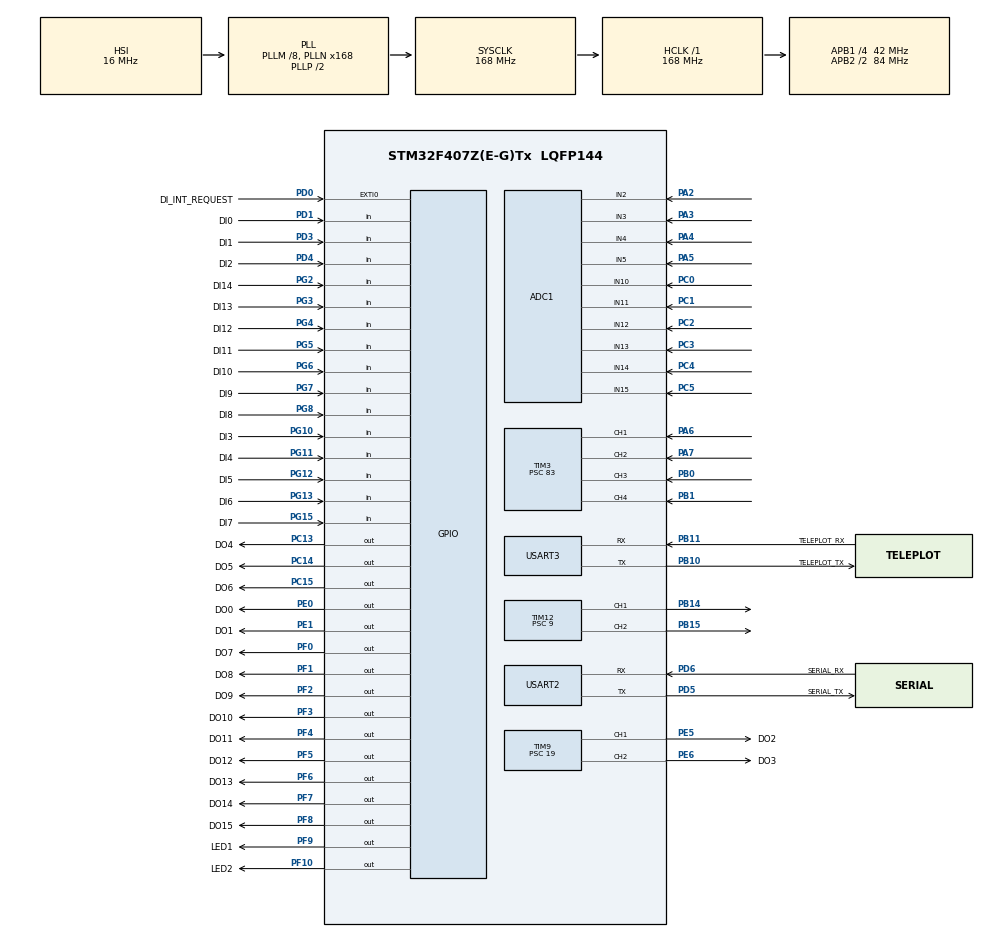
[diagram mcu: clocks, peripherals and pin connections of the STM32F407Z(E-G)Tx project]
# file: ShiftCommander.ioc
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ADC1.Channel-0\#ChannelRegularConversion=ADC_CHANNEL_2
ADC1.Channel-1\#ChannelRegularConversion=ADC_CHANNEL_3
ADC1.Channel-10\#ChannelRegularConversion=ADC_CHANNEL_TEMPSENSOR
ADC1.Channel-11\#ChannelRegularConversion=ADC_CHANNEL_VBAT
ADC1.Channel-12\#ChannelRegularConversion=ADC_CHANNEL_VREFINT
ADC1.Channel-2\#ChannelRegularConversion=ADC_CHANNEL_4
ADC1.Channel-3\#ChannelRegularConversion=ADC_CHANNEL_5
ADC1.Channel-4\#ChannelRegularConversion=ADC_CHANNEL_10
ADC1.Channel-5\#ChannelRegularConversion=ADC_CHANNEL_11
ADC1.Channel-6\#ChannelRegularConversion=ADC_CHANNEL_12
ADC1.Channel-7\#ChannelRegularConversion=ADC_CHANNEL_13
ADC1.Channel-8\#ChannelRegularConversion=ADC_CHANNEL_14
ADC1.Channel-9\#ChannelRegularConversion=ADC_CHANNEL_15
ADC1.ClockPrescaler=ADC_CLOCK_SYNC_PCLK_DIV6
ADC1.EOCSelection=ADC_EOC_SEQ_CONV
ADC1.NbrOfConversion=13
ADC1.NbrOfConversionFlag=1
ADC1.Rank-0\#ChannelRegularConversion=1
ADC1.Rank-1\#ChannelRegularConversion=2
ADC1.Rank-10\#ChannelRegularConversion=11
ADC1.Rank-11\#ChannelRegularConversion=12
ADC1.Rank-12\#ChannelRegularConversion=13
ADC1.Rank-2\#ChannelRegularConversion=3
ADC1.Rank-3\#ChannelRegularConversion=4
ADC1.Rank-4\#ChannelRegularConversion=5
ADC1.Rank-5\#ChannelRegularConversion=6
ADC1.Rank-6\#ChannelRegularConversion=7
ADC1.Rank-7\#ChannelRegularConversion=8
ADC1.Rank-8\#ChannelRegularConversion=9
ADC1.Rank-9\#ChannelRegularConversion=10
ADC1.SamplingTime-0\#ChannelRegularConversion=ADC_SAMPLETIME_56CYCLES
ADC1.SamplingTime-1\#ChannelRegularConversion=ADC_SAMPLETIME_56CYCLES
ADC1.SamplingTime-10\#ChannelRegularConversion=ADC_SAMPLETIME_56CYCLES
ADC1.SamplingTime-11\#ChannelRegularConversion=ADC_SAMPLETIME_56CYCLES
ADC1.SamplingTime-12\#ChannelRegularConversion=ADC_SAMPLETIME_56CYCLES
ADC1.SamplingTime-2\#ChannelRegularConversion=ADC_SAMPLETIME_56CYCLES
ADC1.SamplingTime-3\#ChannelRegularConversion=ADC_SAMPLETIME_56CYCLES
ADC1.SamplingTime-4\#ChannelRegularConversion=ADC_SAMPLETIME_56CYCLES
ADC1.SamplingTime-5\#ChannelRegularConversion=ADC_SAMPLETIME_56CYCLES
ADC1.SamplingTime-6\#ChannelRegularConversion=ADC_SAMPLETIME_56CYCLES
ADC1.SamplingTime-7\#ChannelRegularConversion=ADC_SAMPLETIME_56CYCLES
ADC1.SamplingTime-8\#ChannelRegularConversion=ADC_SAMPLETIME_56CYCLES
ADC1.SamplingTime-9\#ChannelRegularConversion=ADC_SAMPLETIME_56CYCLES
ADC1.ScanConvMode=ENABLE
ADC1.master=1
Dma.ADC1.4.Direction=DMA_PERIPH_TO_MEMORY
Dma.ADC1.4.FIFOMode=DMA_FIFOMODE_DISABLE
Dma.ADC1.4.Instance=DMA2_Stream0
Dma.ADC1.4.MemDataAlignment=DMA_MDATAALIGN_WORD
Dma.ADC1.4.MemInc=DMA_MINC_ENABLE
Dma.ADC1.4.Mode=DMA_NORMAL
Dma.ADC1.4.PeriphDataAlignment=DMA_PDATAALIGN_WORD
Dma.ADC1.4.PeriphInc=DMA_PINC_DISABLE
Dma.ADC1.4.Priority=DMA_PRIORITY_LOW
Dma.Request0=TIM3_CH1/TRIG
Dma.Request1=TIM3_CH2
Dma.Request2=TIM3_CH3
Dma.Request3=TIM3_CH4/UP
Dma.Request4=ADC1
Dma.TIM3_CH1/TRIG.0.Direction=DMA_PERIPH_TO_MEMORY
Dma.TIM3_CH1/TRIG.0.FIFOMode=DMA_FIFOMODE_DISABLE
Dma.TIM3_CH1/TRIG.0.Instance=DMA1_Stream4
Dma.TIM3_CH1/TRIG.0.MemDataAlignment=DMA_MDATAALIGN_WORD
Dma.TIM3_CH1/TRIG.0.MemInc=DMA_MINC_ENABLE
Dma.TIM3_CH1/TRIG.0.Mode=DMA_CIRCULAR
Dma.TIM3_CH1/TRIG.0.PeriphDataAlignment=DMA_PDATAALIGN_WORD
Dma.TIM3_CH1/TRIG.0.PeriphInc=DMA_PINC_DISABLE
Dma.TIM3_CH1/TRIG.0.Priority=DMA_PRIORITY_LOW
Dma.TIM3_CH2.1.Direction=DMA_PERIPH_TO_MEMORY
Dma.TIM3_CH2.1.FIFOMode=DMA_FIFOMODE_DISABLE
Dma.TIM3_CH2.1.Instance=DMA1_Stream5
Dma.TIM3_CH2.1.MemDataAlignment=DMA_MDATAALIGN_WORD
Dma.TIM3_CH2.1.MemInc=DMA_MINC_ENABLE
Dma.TIM3_CH2.1.Mode=DMA_CIRCULAR
Dma.TIM3_CH2.1.PeriphDataAlignment=DMA_PDATAALIGN_WORD
Dma.TIM3_CH2.1.PeriphInc=DMA_PINC_DISABLE
Dma.TIM3_CH2.1.Priority=DMA_PRIORITY_LOW
Dma.TIM3_CH3.2.Direction=DMA_PERIPH_TO_MEMORY
Dma.TIM3_CH3.2.FIFOMode=DMA_FIFOMODE_DISABLE
Dma.TIM3_CH3.2.Instance=DMA1_Stream7
Dma.TIM3_CH3.2.MemDataAlignment=DMA_MDATAALIGN_WORD
Dma.TIM3_CH3.2.MemInc=DMA_MINC_ENABLE
Dma.TIM3_CH3.2.Mode=DMA_CIRCULAR
Dma.TIM3_CH3.2.PeriphDataAlignment=DMA_PDATAALIGN_WORD
Dma.TIM3_CH3.2.PeriphInc=DMA_PINC_DISABLE
Dma.TIM3_CH3.2.Priority=DMA_PRIORITY_LOW
Dma.TIM3_CH4/UP.3.Direction=DMA_PERIPH_TO_MEMORY
Dma.TIM3_CH4/UP.3.FIFOMode=DMA_FIFOMODE_DISABLE
Dma.TIM3_CH4/UP.3.Instance=DMA1_Stream2
Dma.TIM3_CH4/UP.3.MemDataAlignment=DMA_MDATAALIGN_WORD
Dma.TIM3_CH4/UP.3.MemInc=DMA_MINC_ENABLE
Dma.TIM3_CH4/UP.3.Mode=DMA_CIRCULAR
Dma.TIM3_CH4/UP.3.PeriphDataAlignment=DMA_PDATAALIGN_WORD
Dma.TIM3_CH4/UP.3.PeriphInc=DMA_PINC_DISABLE
Dma.TIM3_CH4/UP.3.Priority=DMA_PRIORITY_LOW
FREERTOS.Tasks01=defaultTask,12,128,StartDefaultTask,Default,NULL,Dynamic,NULL,NULL;blinkerTask,13,128,StartBlinkerTask,Default,NULL,Dynamic,NULL,NULL;shaftsTask,16,256,StartShaftsMeasTask,Default,NULL,Dynamic,NULL,NULL;batteryTask,16,256,StartBattVoltMeasTask,Default,NULL,Dynamic,NULL,NULL;pi1Task,24,128,StartPulseInputCh1Task,Default,NULL,Dynamic,NULL,NULL;aiTask,16,128,StartAnalogInputTask,Default,NULL,Dynamic,NULL,NULL;diTask,16,128,StartDiscreteInputTask,Default,NULL,Dynamic,NULL,NULL;doTask,16,128,StartDiscreteOutputTask,Default,NULL,Dynamic,NULL,NULL;poTask,16,128,StartPulseOutputTask,Default,NULL,Dynamic,NULL,NULL;pi2Task,24,128,StartPulseInputCh2Task,Default,NULL,Dynamic,NULL,NULL;pi3Task,24,128,StartPulseInputCh3Task,Default,NULL,Dynamic,NULL,NULL;pi4Task,24,128,StartPulseInputCh4Task,Default,NULL,Dynamic,NULL,NULL
FREERTOS.configENABLE_FPU=1
FREERTOS.configTOTAL_HEAP_SIZE=20480
FREERTOS.configUSE_NEWLIB_REENTRANT=1
Mcu.Family=STM32F4
Mcu.Name=STM32F407Z(E-G)Tx
Mcu.Package=LQFP144
NVIC.DMA1_Stream2_IRQn=true\:5\:0\:false\:false\:true\:true\:false\:true\:true
NVIC.DMA1_Stream4_IRQn=true\:5\:0\:false\:false\:true\:true\:false\:true\:true
NVIC.DMA1_Stream5_IRQn=true\:5\:0\:false\:false\:true\:true\:false\:true\:true
NVIC.DMA1_Stream7_IRQn=true\:5\:0\:false\:false\:true\:true\:false\:true\:true
NVIC.DMA2_Stream0_IRQn=true\:5\:0\:false\:false\:true\:true\:false\:true\:true
NVIC.PriorityGroup=NVIC_PRIORITYGROUP_4
NVIC.TIM1_BRK_TIM9_IRQn=true\:5\:0\:false\:false\:true\:true\:true\:true\:true
NVIC.TIM6_DAC_IRQn=true\:5\:0\:false\:false\:true\:true\:true\:true\:true
NVIC.TIM8_BRK_TIM12_IRQn=true\:5\:0\:false\:false\:true\:true\:true\:true\:true
PA11.GPIO_Label=CAN_MAIN_RX
PA11.Signal=CAN1_RX
PA12.GPIO_Label=CAN_MAIN_TX
PA12.Signal=CAN1_TX
PA13.Mode=Serial_Wire
PA13.Signal=SYS_JTMS-SWDIO
PA14.Mode=Serial_Wire
PA14.Signal=SYS_JTCK-SWCLK
PA2.Signal=ADCx_IN2
PA3.Signal=ADCx_IN3
PA4.Signal=ADCx_IN4
PA5.Signal=ADCx_IN5
PA6.GPIO_PuPd=GPIO_PULLUP
PA6.Signal=S_TIM3_CH1
PA7.GPIO_PuPd=GPIO_PULLUP
PA7.Signal=S_TIM3_CH2
PB0.GPIO_PuPd=GPIO_PULLUP
PB0.Signal=S_TIM3_CH3
PB1.GPIO_PuPd=GPIO_PULLUP
PB1.Signal=S_TIM3_CH4
PB10.GPIO_Label=TELEPLOT_TX
PB10.Mode=Asynchronous
PB10.Signal=USART3_TX
PB11.GPIO_Label=TELEPLOT_RX
PB11.Mode=Asynchronous
PB11.Signal=USART3_RX
PB12.GPIO_Label=CAN_AUX_RX
PB12.Signal=CAN2_RX
PB13.GPIO_Label=CAN_AUX_TX
PB13.Signal=CAN2_TX
PB14.Signal=S_TIM12_CH1
PB15.Signal=S_TIM12_CH2
PC0.Signal=ADCx_IN10
PC1.Signal=ADCx_IN11
PC13-ANTI_TAMP.GPIO_Label=DO4
PC13-ANTI_TAMP.Signal=GPIO_Output
PC14-OSC32_IN.GPIO_Label=DO5
PC14-OSC32_IN.Signal=GPIO_Output
PC15-OSC32_OUT.GPIO_Label=DO6
PC15-OSC32_OUT.Signal=GPIO_Output
PC2.Signal=ADCx_IN12
PC3.Signal=ADCx_IN13
PC4.Signal=ADCx_IN14
PC5.Signal=ADCx_IN15
PC6.GPIO_Label=LIN_TX
PC6.Signal=USART6_TX
PC7.GPIO_Label=LIN_RX
PC7.Signal=USART6_RX
PD0.GPIO_Label=DI_INT_REQUEST
PD0.GPIO_ModeDefaultEXTI=GPIO_MODE_IT_RISING
PD0.GPIO_PuPd=GPIO_PULLDOWN
PD0.Signal=GPXTI0
PD1.GPIO_Label=DI0
PD1.GPIO_PuPd=GPIO_PULLDOWN
PD1.Signal=GPIO_Input
PD3.GPIO_Label=DI1
PD3.GPIO_PuPd=GPIO_PULLDOWN
PD3.Signal=GPIO_Input
PD4.GPIO_Label=DI2
PD4.GPIO_PuPd=GPIO_PULLDOWN
PD4.Signal=GPIO_Input
PD5.GPIO_Label=SERIAL_TX
PD5.Mode=Asynchronous
PD5.Signal=USART2_TX
PD6.GPIO_Label=SERIAL_RX
PD6.Mode=Asynchronous
PD6.Signal=USART2_RX
PE0.GPIO_Label=DO0
PE0.Signal=GPIO_Output
PE1.GPIO_Label=DO1
PE1.Signal=GPIO_Output
PE5.GPIO_Label=DO2
PE5.Signal=S_TIM9_CH1
PE6.GPIO_Label=DO3
PE6.Signal=S_TIM9_CH2
PF0.GPIO_Label=DO7
PF0.Signal=GPIO_Output
PF1.GPIO_Label=DO8
PF1.Signal=GPIO_Output
PF10.GPIO_Label=LED2
PF10.Signal=GPIO_Output
PF2.GPIO_Label=DO9
PF2.Signal=GPIO_Output
PF3.GPIO_Label=DO10
PF3.Signal=GPIO_Output
PF4.GPIO_Label=DO11
PF4.Signal=GPIO_Output
PF5.GPIO_Label=DO12
PF5.Signal=GPIO_Output
PF6.GPIO_Label=DO13
PF6.Signal=GPIO_Output
PF7.GPIO_Label=DO14
PF7.PinState=GPIO_PIN_SET
PF7.Signal=GPIO_Output
PF8.GPIO_Label=DO15
PF8.Signal=GPIO_Output
PF9.GPIO_Label=LED1
PF9.Signal=GPIO_Output
PG10.GPIO_Label=DI3
PG10.GPIO_PuPd=GPIO_NOPULL
PG10.Signal=GPIO_Input
PG11.GPIO_Label=DI4
PG11.GPIO_PuPd=GPIO_NOPULL
PG11.Signal=GPIO_Input
PG12.GPIO_Label=DI5
PG12.GPIO_PuPd=GPIO_PULLDOWN
PG12.Signal=GPIO_Input
PG13.GPIO_Label=DI6
PG13.GPIO_PuPd=GPIO_PULLDOWN
PG13.Signal=GPIO_Input
PG15.GPIO_Label=DI7
PG15.GPIO_PuPd=GPIO_PULLDOWN
PG15.Signal=GPIO_Input
PG2.GPIO_Label=DI14
PG2.GPIO_PuPd=GPIO_NOPULL
PG2.Signal=GPIO_Input
PG3.GPIO_Label=DI13
PG3.GPIO_PuPd=GPIO_NOPULL
PG3.Signal=GPIO_Input
PG4.GPIO_Label=DI12
PG4.GPIO_PuPd=GPIO_NOPULL
PG4.Signal=GPIO_Input
PG5.GPIO_Label=DI11
PG5.GPIO_PuPd=GPIO_NOPULL
PG5.Signal=GPIO_Input
PG6.GPIO_Label=DI10
PG6.GPIO_PuPd=GPIO_NOPULL
PG6.Signal=GPIO_Input
PG7.GPIO_Label=DI9
PG7.GPIO_PuPd=GPIO_NOPULL
PG7.Signal=GPIO_Input
PG8.GPIO_Label=DI8
PG8.GPIO_PuPd=GPIO_NOPULL
PG8.Signal=GPIO_Input
ProjectManager.HeapSize=0x200
ProjectManager.StackSize=0x400
ProjectManager.TargetToolchain=STM32CubeIDE
RCC.48MHZClocksFreq_Value=84000000
RCC.AHBFreq_Value=168000000
RCC.APB1CLKDivider=RCC_HCLK_DIV4
RCC.APB1Freq_Value=42000000
RCC.APB1TimFreq_Value=84000000
RCC.APB2CLKDivider=RCC_HCLK_DIV2
RCC.APB2Freq_Value=84000000
RCC.APB2TimFreq_Value=168000000
RCC.CortexFreq_Value=168000000
RCC.HCLKFreq_Value=168000000
RCC.HSE_VALUE=25000000
RCC.HSI_VALUE=16000000
RCC.LSE_VALUE=32768
RCC.PLLM=8
RCC.PLLN=168
RCC.SYSCLKFreq_VALUE=168000000
RCC.SYSCLKSource=RCC_SYSCLKSOURCE_PLLCLK
RCC.VCOOutputFreq_Value=336000000
SH.ADCx_IN10.0=ADC1_IN10,IN10
SH.ADCx_IN11.0=ADC1_IN11,IN11
SH.ADCx_IN12.0=ADC1_IN12,IN12
SH.ADCx_IN13.0=ADC1_IN13,IN13
SH.ADCx_IN14.0=ADC1_IN14,IN14
SH.ADCx_IN15.0=ADC1_IN15,IN15
SH.ADCx_IN2.0=ADC1_IN2,IN2
SH.ADCx_IN3.0=ADC1_IN3,IN3
SH.ADCx_IN4.0=ADC1_IN4,IN4
SH.ADCx_IN5.0=ADC1_IN5,IN5
SH.S_TIM12_CH1.0=TIM12_CH1,PWM Generation1 CH1
SH.S_TIM12_CH2.0=TIM12_CH2,PWM Generation2 CH2
SH.S_TIM3_CH1.0=TIM3_CH1,Input_Capture1_from_TI1
SH.S_TIM3_CH2.0=TIM3_CH2,Input_Capture2_from_TI2
SH.S_TIM3_CH3.0=TIM3_CH3,Input_Capture3_from_TI3
SH.S_TIM3_CH4.0=TIM3_CH4,Input_Capture4_from_TI4
SH.S_TIM9_CH1.0=TIM9_CH1,PWM Generation1 CH1
SH.S_TIM9_CH2.0=TIM9_CH2,PWM Generation2 CH2
TIM12.AutoReloadPreload=TIM_AUTORELOAD_PRELOAD_ENABLE
TIM12.Channel-PWM\ Generation1\ CH1=TIM_CHANNEL_1
TIM12.Channel-PWM\ Generation2\ CH2=TIM_CHANNEL_2
TIM12.Period=839
TIM12.Prescaler=9
TIM3.AutoReloadPreload=TIM_AUTORELOAD_PRELOAD_ENABLE
TIM3.Channel-Input_Capture1_from_TI1=TIM_CHANNEL_1
TIM3.Channel-Input_Capture2_from_TI2=TIM_CHANNEL_2
TIM3.Channel-Input_Capture3_from_TI3=TIM_CHANNEL_3
TIM3.Channel-Input_Capture4_from_TI4=TIM_CHANNEL_4
TIM3.ICFilter_CH1=8
TIM3.ICFilter_CH2=8
TIM3.ICFilter_CH3=8
TIM3.ICFilter_CH4=8
TIM3.ICPolarity_CH1=TIM_INPUTCHANNELPOLARITY_FALLING
TIM3.ICPolarity_CH2=TIM_INPUTCHANNELPOLARITY_FALLING
TIM3.ICPolarity_CH3=TIM_INPUTCHANNELPOLARITY_FALLING
TIM3.ICPolarity_CH4=TIM_INPUTCHANNELPOLARITY_FALLING
TIM3.Prescaler=83
TIM6.AutoReloadPreload=TIM_AUTORELOAD_PRELOAD_DISABLE
TIM6.Period=9999
TIM6.Prescaler=8399
TIM9.AutoReloadPreload=TIM_AUTORELOAD_PRELOAD_ENABLE
TIM9.Channel-PWM\ Generation1\ CH1=TIM_CHANNEL_1
TIM9.Channel-PWM\ Generation2\ CH2=TIM_CHANNEL_2
TIM9.Period=839
TIM9.Prescaler=19
USART2.VirtualMode=VM_ASYNC
USART3.VirtualMode=VM_ASYNC
VP_ADC1_TempSens_Input.Mode=IN-TempSens
VP_ADC1_Vbat_Input.Mode=IN-Vbat
VP_ADC1_Vref_Input.Mode=IN-Vrefint
VP_FREERTOS_VS_CMSIS_V2.Mode=CMSIS_V2
VP_TIM12_VS_ClockSourceINT.Mode=Internal
VP_TIM3_VS_ClockSourceINT.Mode=Internal
VP_TIM6_VS_ClockSourceINT.Mode=Enable_Timer
VP_TIM9_VS_ClockSourceINT.Mode=Internal
board=custom

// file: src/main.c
/* USER CODE BEGIN Header */
/**
 ******************************************************************************
 * @file           : main.c
 * @brief          : Main μC program body
 ******************************************************************************
 * @attention
 *
 * Copyright (c) 2026 STMicroelectronics.
 * All rights reserved.
 *
 * This software is licensed under terms that can be found in the LICENSE file
 * in the root directory of this software component.
 * If no LICENSE file comes with this software, it is provided AS-IS.
 *
 ******************************************************************************
 */
/* USER CODE END Header */
#include "main.h"
#include "cmsis_os.h"
#include "adc.h"
#include "dma.h"
#include "tim.h"
#include "usart.h"
#include "gpio.h"

/* USER CODE BEGIN Includes */
#include <main_types.h>
/* USER CODE END Includes */

/* USER CODE BEGIN PV */
volatile uint8_t blink_flag = 0;                                                     // Флаг для основной программы
static uint32_t pi_cbuf_storage_ch_[NUM_PI_CHANNELS][PI_CIRCULAR_BUFFER_SIZE] = {0}; // PI circular buffer back storage
static uint32_t pi_lf_cbuf_storage_ch_[NUM_PI_CHANNELS][2] = {0};                    // PI lock-free circular buffer back storage
static uint32_t ai_lf_cbuf_storage_ch_[NUM_AI_CHANNELS][2] = {0};                    // AI lock-free circular buffer back storage
uint32_t dma_adc_buffer[NUM_AI_CHANNELS] = {0};                                      // Буфер для сырых данных из регистра АЦП для DMA
uint32_t dma_capture_buffer[NUM_PI_CHANNELS][SAMPLES_PER_PI_CHANNEL] = {0};          // Двухмерный буфер [канал][семпл] для DMA
pulse_measurement_t shafts_meas[NUM_PI_CHANNELS] = {0};                              // Структура для хранения измерений датчиков оборотов валов(shafts) PI channels
analog_measurement_t car_sens_meas[NUM_AI_CHANNELS] = {0};                           // Car sensors measurements for AI channels
digital_measurement_t pnps_meas = {0};                                               // PNPS Position switch state DI // ! deprecated
digital_measurement_t car_switchs_meass /*[NUM_DI_CHANNELS]*/ = {0};                 // Car switches and buttons states for DI channels

// * все измерения хранятся в соответвующих структурах с постфиксом *_meas
// * эти измерения используются в расчёте значений параметров(класс параметр со свойствами)
/* USER CODE END PV */

void SystemClock_Config(void);
void MX_FREERTOS_Init(void);
/* USER CODE BEGIN PFP */
void shafts_meas_init(void);
void car_sens_meas_init(void);
uint32_t calculate_period(uint32_t, uint32_t);
/* USER CODE END PFP */

int main(void)
{

  /* MCU Configuration--------------------------------------------------------*/

  /* Reset of all peripherals, Initializes the Flash interface and the Systick. */
  HAL_Init();

  /* Configure the system clock */
  SystemClock_Config();

  /* Initialize all configured peripherals */
  MX_GPIO_Init();
  MX_DMA_Init();
  MX_TIM6_Init();
  MX_TIM3_Init();
  MX_USART2_UART_Init();
  MX_TIM9_Init();
  MX_TIM12_Init();
  MX_ADC1_Init();
  MX_USART3_UART_Init();
  /* USER CODE BEGIN 2 */

  /* Initialize all configured repository storages(measurements) */
  shafts_meas_init();
  car_sens_meas_init();

  /* Initializers */
  // TODO: здесь только инициализации на манер тех, что генерирует CubeMX для перифирии

  /* USER CODE END 2 */

  /* Init scheduler */
  osKernelInitialize();  /* Call init function for freertos objects (in freertos.c) */
  MX_FREERTOS_Init();

  /* Start scheduler */
  osKernelStart();

  /* We should never get here as control is now taken by the scheduler */
  /* Infinite loop */
  /* USER CODE BEGIN WHILE */
  while (1)
  {
    // ! Данный код не вызывается μC
    /* USER CODE END WHILE */

  }
}

void SystemClock_Config(void)
{
  RCC_OscInitTypeDef RCC_OscInitStruct = {0};
  RCC_ClkInitTypeDef RCC_ClkInitStruct = {0};

  /** Configure the main internal regulator output voltage
  */
  __HAL_RCC_PWR_CLK_ENABLE();
  __HAL_PWR_VOLTAGESCALING_CONFIG(PWR_REGULATOR_VOLTAGE_SCALE1);

  /** Initializes the RCC Oscillators according to the specified parameters
  * in the RCC_OscInitTypeDef structure.
  */
  RCC_OscInitStruct.OscillatorType = RCC_OSCILLATORTYPE_HSI;
  RCC_OscInitStruct.HSIState = RCC_HSI_ON;
  RCC_OscInitStruct.HSICalibrationValue = RCC_HSICALIBRATION_DEFAULT;
  RCC_OscInitStruct.PLL.PLLState = RCC_PLL_ON;
  RCC_OscInitStruct.PLL.PLLSource = RCC_PLLSOURCE_HSI;
  RCC_OscInitStruct.PLL.PLLM = 8;
  RCC_OscInitStruct.PLL.PLLN = 168;
  RCC_OscInitStruct.PLL.PLLP = RCC_PLLP_DIV2;
  RCC_OscInitStruct.PLL.PLLQ = 4;
  if (HAL_RCC_OscConfig(&RCC_OscInitStruct) != HAL_OK)
  {
    Error_Handler();
  }

  /** Initializes the CPU, AHB and APB buses clocks
  */
  RCC_ClkInitStruct.ClockType = RCC_CLOCKTYPE_HCLK|RCC_CLOCKTYPE_SYSCLK
                              |RCC_CLOCKTYPE_PCLK1|RCC_CLOCKTYPE_PCLK2;
  RCC_ClkInitStruct.SYSCLKSource = RCC_SYSCLKSOURCE_PLLCLK;
  RCC_ClkInitStruct.AHBCLKDivider = RCC_SYSCLK_DIV1;
  RCC_ClkInitStruct.APB1CLKDivider = RCC_HCLK_DIV4;
  RCC_ClkInitStruct.APB2CLKDivider = RCC_HCLK_DIV2;

  if (HAL_RCC_ClockConfig(&RCC_ClkInitStruct, FLASH_LATENCY_5) != HAL_OK)
  {
    Error_Handler();
  }
}

/* USER CODE BEGIN 4 */
/**
 * @brief  This function is executed in case of capture done.
 * @retval None
 */
void HAL_TIM_IC_CaptureCallback(TIM_HandleTypeDef *htim)
{
  // Можно обрабатывать половину данных, пока заполняется вторая половина
  // индикация (например, мигание светодиода)
  HAL_GPIO_TogglePin(LED1_GPIO_Port, LED1_Pin);

  // Обработчик прерывания от DMA
  if (htim->Instance == TIM3)
  {
    // Определяем, какой канал вызвал прерывание
    // Установка флага для основной программы
    if (htim->Channel == HAL_TIM_ACTIVE_CHANNEL_1)
    {
      uint32_t capture1 = dma_capture_buffer[0][2];
      uint32_t capture2 = dma_capture_buffer[0][3];
      uint32_t period_us = calculate_period(capture1, capture2);

      // Поместить текущее измерение в измерительный буфер
      circular_buf_put(shafts_meas[0].raw_period_handle_, (circular_buf_data_t)period_us);

      // уведомить о готовности данных
      shafts_meas[0].data_ready_ = 1;
    }
    else if (htim->Channel == HAL_TIM_ACTIVE_CHANNEL_2)
    {
      uint32_t capture1 = dma_capture_buffer[1][2];
      uint32_t capture2 = dma_capture_buffer[1][3];
      uint32_t period_us = calculate_period(capture1, capture2);

      circular_buf_put(shafts_meas[1].raw_period_handle_, (circular_buf_data_t)period_us);

      shafts_meas[1].data_ready_ = 1;
    }
    else if (htim->Channel == HAL_TIM_ACTIVE_CHANNEL_3)
    {
      uint32_t capture1 = dma_capture_buffer[2][2];
      uint32_t capture2 = dma_capture_buffer[2][3];
      uint32_t period_us = calculate_period(capture1, capture2);

      circular_buf_put(shafts_meas[2].raw_period_handle_, (circular_buf_data_t)period_us);

      shafts_meas[2].data_ready_ = 1;
    }
    else if (htim->Channel == HAL_TIM_ACTIVE_CHANNEL_4)
    {
      uint32_t capture1 = dma_capture_buffer[3][2];
      uint32_t capture2 = dma_capture_buffer[3][3];
      uint32_t period_us = calculate_period(capture1, capture2);

      circular_buf_put(shafts_meas[3].raw_period_handle_, (circular_buf_data_t)period_us);

      shafts_meas[3].data_ready_ = 1;
    }
  }
}

/**
 * @brief  This function is executed in case of period elapsed.
 * @retval None
 */
// Колбэки при заполнении половины/полного буфера
void HAL_TIM_IC_CaptureHalfCpltCallback(TIM_HandleTypeDef *htim)
{
  // Можно обрабатывать половину данных, пока заполняется вторая половина
  // индикация (например, мигание светодиода)
  HAL_GPIO_TogglePin(LED1_GPIO_Port, LED1_Pin);

  // Обработчик прерывания от DMA
  if (htim->Instance == TIM3)
  {
    // Определяем, какой канал вызвал прерывание
    // Установка флага для основной программы
    if (htim->Channel == HAL_TIM_ACTIVE_CHANNEL_1)
    {
      uint32_t capture1 = dma_capture_buffer[0][0];
      uint32_t capture2 = dma_capture_buffer[0][1];
      uint32_t period_us = calculate_period(capture1, capture2);

      // Поместить текущее измерение в измерительный буфер
      circular_buf_put(shafts_meas[0].raw_period_handle_, (circular_buf_data_t)period_us);

      // уведомить о готовности данных
      shafts_meas[0].data_ready_ = 1;
    }
    else if (htim->Channel == HAL_TIM_ACTIVE_CHANNEL_2)
    {
      uint32_t capture1 = dma_capture_buffer[1][0];
      uint32_t capture2 = dma_capture_buffer[1][1];
      uint32_t period_us = calculate_period(capture1, capture2);

      circular_buf_put(shafts_meas[1].raw_period_handle_, (circular_buf_data_t)period_us);

      shafts_meas[1].data_ready_ = 1;
    }
    else if (htim->Channel == HAL_TIM_ACTIVE_CHANNEL_3)
    {
      uint32_t capture1 = dma_capture_buffer[2][0];
      uint32_t capture2 = dma_capture_buffer[2][1];
      uint32_t period_us = calculate_period(capture1, capture2);

      circular_buf_put(shafts_meas[2].raw_period_handle_, (circular_buf_data_t)period_us);

      shafts_meas[2].data_ready_ = 1;
    }
    else if (htim->Channel == HAL_TIM_ACTIVE_CHANNEL_4)
    {
      uint32_t capture1 = dma_capture_buffer[3][0];
      uint32_t capture2 = dma_capture_buffer[3][1];
      uint32_t period_us = calculate_period(capture1, capture2);

      circular_buf_put(shafts_meas[3].raw_period_handle_, (circular_buf_data_t)period_us);

      shafts_meas[3].data_ready_ = 1;
    }
  }
}

/**
 * Расчет периода между двумя захватами таймера
 * @param first_capture  - значение при первом захвате (более раннее)
 * @param second_capture - значение при втором захвате (более позднее)
 * @return период в тиках (1..0xFFFFFFFF)
 */
uint32_t calculate_period(uint32_t capture1, uint32_t capture2)
{
  uint32_t period_us = 0;

  if (capture2 > capture1)
  {
    // Нормальный случай (без переполнения)
    period_us = capture2 - capture1;
  }
  else
  {
    // Случай с переполнением счетчика
    period_us = (0xFFFF - capture1) + capture2; //+ 1;
  }

  return (period_us < 1) ? 1 : period_us;
}

/**
 * @brief  Period elapsed callback in non blocking mode
 * @note   This function is called  when TIM7 interrupt took place, inside
 * HAL_TIM_IRQHandler(). It makes a direct call to HAL_IncTick() to increment
 * a global variable "uwTick" used as application time base.
 * @param  htim : TIM handle
 * @retval None
 */
void HAL_TIM_PeriodElapsedCallback(TIM_HandleTypeDef *htim)
{

  /* Обработчик прерывания TIM6 */
  if (htim->Instance == TIM6)
  {
    blink_flag = 1; // Установка флага для основной программы
  }
}

void HAL_ADC_ConvCpltCallback(ADC_HandleTypeDef *hadc)
{
  if (hadc->Instance == ADC1)
  {
    // fetch ADC measured values to the measurement storage
    for (uint8_t i = 0; i < NUM_AI_CHANNELS; i++)
    {
      car_sens_meas[i].measured_value = dma_adc_buffer[i];
      car_sens_meas[i].data_ready_ = 1;
    }
  }
}

void HAL_ADC_ErrorCallback(ADC_HandleTypeDef *hadc)
{
  // todo handle adc error
  // __FILE__ __LINE__
}

/**
 * @brief  This function is an example of measurements initialization
 * @retval None
 */
void shafts_meas_init(void)
{
  // * Для каждого вида измерений необходимо своё хранилищел
  // к примеру:
  // shafts_meas - это измерения оборотов валов
  // car_sens_meas - это измерения датчиков температуры, давления, напряжения борт сети и пр.
  // sel_meas - это определение положения селектора АКПП
  // В такие хранилища помещаются предобработанные(отфильтрованные данные)
  // �?з такого хранилища получает данные объект класса соответвующего параметра
  // Эта связка формирует _репозиторий параметра_
  // Далее, в нутри класса измерение приводится к нужному виду параметра.
  // Таким образом параметр обретает значение

  // Получить частоту тактирования
  float clk = HAL_RCC_GetPCLK2Freq() / (htim3.Instance->PSC + 1);

  for (int i = 0; i < NUM_PI_CHANNELS; i++)
  {
    shafts_meas[i].data_ready_ = 0;
    // shafts_meas[i].last_value = 0;      // deprecated
    // shafts_meas[i].period_us = 0;       // deprecated заменена на lock-free
    // shafts_meas[i].frequency_hz = 0.0f; // deprecated
    // shafts_meas[i].duty_cycle = 0;      // deprecated
    shafts_meas[i].raw_period_handle_ = circular_buf_init(pi_cbuf_storage_ch_[i], PI_CIRCULAR_BUFFER_SIZE);
    shafts_meas[i].period_handle_ = lf_circular_buf_init(pi_lf_cbuf_storage_ch_[i], 2); // todo change to config param(2 is a good choise)
    shafts_meas[i].clk_ = clk;                                                          // вносим это значение один раз чтобы не считать каждый раз
  }
}

/**
 * @brief  This function is an example of measurements initialization
 * @retval None
 */
void car_sens_meas_init(void)
{
  for (int i = 0; i < NUM_AI_CHANNELS; i++)
  {
    // Configure for the selected ADC regular channel
    car_sens_meas[i].filtered = 0; // deprecated
    car_sens_meas[i].measured_value = 0;
    car_sens_meas[i].alpha = 0.3f;                                                       // Чем меньше alpha, тем больше сглаживание
    car_sens_meas[i].value_handle_ = lf_circular_buf_init(ai_lf_cbuf_storage_ch_[i], 2); // todo change to config param(2 is a good choise)
  }

  // Выбор alpha:
  // - alpha = 0.1 ≈ 19 периодов (сильное сглаживание)
  // - alpha = 0.2 ≈ 9 периодов
  // - alpha = 0.3 ≈ 5.7 периодов
  // - alpha = 0.5 ≈ 3 периода (умеренное сглаживание)
  // - alpha = 0.8 ≈ 1.5 периодов (слабое сглаживание)
  // - alpha = 1.0 = нет сглаживания (просто текущее значение)
}

/* USER CODE END 4 */

void Error_Handler(void)
{
  /* USER CODE BEGIN Error_Handler_Debug */
  /* User can add his own implementation to report the HAL error return state */
  __disable_irq();
  while (1)
  {
    // Error indication //TODO: Diagnostic
    // HAL_GPIO_TogglePin(LED1_GPIO_Port, LED1_Pin);
    HAL_Delay(50);
  }
  /* USER CODE END Error_Handler_Debug */
}

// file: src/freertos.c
/* USER CODE BEGIN Header */
/**
 ******************************************************************************
 * File Name          : freertos.c
 * Description        : Code for freertos applications
 ******************************************************************************
 * @attention
 *
 * Copyright (c) 2026 STMicroelectronics.
 * All rights reserved.
 *
 * This software is licensed under terms that can be found in the LICENSE file
 * in the root directory of this software component.
 * If no LICENSE file comes with this software, it is provided AS-IS.
 *
 ******************************************************************************
 */
/* USER CODE END Header */

#include "FreeRTOS.h"
#include "task.h"
#include "main.h"
#include "cmsis_os.h"

/* USER CODE BEGIN Includes */
#include <stdbool.h>
#include <main_export.h>
#include <local_misc.h>
#include "usart.h"
#include "tim.h"
#include "adc.h"
#include <arm_math.h> // CMSIS-DSP библиотека от ARM
#include <c_wrapper4cxx_code_exec.hpp>
#include <appxx_shafts_meas.hpp>
#include <appxx_car_sens_meas.hpp>
#include <appxx_blinker.hpp>
#include <uart_printf.h>
/* USER CODE END Includes */

/* Definitions for defaultTask */
osThreadId_t defaultTaskHandle;
const osThreadAttr_t defaultTask_attributes = {
    .name = "defaultTask",
    .stack_size = 128 * 4,
    .priority = (osPriority_t)osPriorityLow4,
};
/* Definitions for blinkerTask */
osThreadId_t blinkerTaskHandle;
const osThreadAttr_t blinkerTask_attributes = {
    .name = "blinkerTask",
    .stack_size = 128 * 4,
    .priority = (osPriority_t)osPriorityLow5,
};
/* Definitions for shaftsTask */
osThreadId_t shaftsTaskHandle;
const osThreadAttr_t shaftsTask_attributes = {
    .name = "shaftsTask",
    .stack_size = 256 * 4,
    .priority = (osPriority_t)osPriorityBelowNormal,
};
/* Definitions for batteryTask */
osThreadId_t batteryTaskHandle;
const osThreadAttr_t batteryTask_attributes = {
    .name = "batteryTask",
    .stack_size = 256 * 4,
    .priority = (osPriority_t)osPriorityBelowNormal,
};
/* Definitions for pi1Task */
osThreadId_t pi1TaskHandle;
const osThreadAttr_t pi1Task_attributes = {
    .name = "pi1Task",
    .stack_size = 128 * 4,
    .priority = (osPriority_t)osPriorityNormal,
};
/* Definitions for aiTask */
osThreadId_t aiTaskHandle;
const osThreadAttr_t aiTask_attributes = {
    .name = "aiTask",
    .stack_size = 128 * 4,
    .priority = (osPriority_t)osPriorityBelowNormal,
};
/* Definitions for diTask */
osThreadId_t diTaskHandle;
const osThreadAttr_t diTask_attributes = {
    .name = "diTask",
    .stack_size = 128 * 4,
    .priority = (osPriority_t)osPriorityBelowNormal,
};
/* Definitions for doTask */
osThreadId_t doTaskHandle;
const osThreadAttr_t doTask_attributes = {
    .name = "doTask",
    .stack_size = 128 * 4,
    .priority = (osPriority_t)osPriorityBelowNormal,
};
/* Definitions for poTask */
osThreadId_t poTaskHandle;
const osThreadAttr_t poTask_attributes = {
    .name = "poTask",
    .stack_size = 128 * 4,
    .priority = (osPriority_t)osPriorityBelowNormal,
};
/* Definitions for pi2Task */
osThreadId_t pi2TaskHandle;
const osThreadAttr_t pi2Task_attributes = {
    .name = "pi2Task",
    .stack_size = 128 * 4,
    .priority = (osPriority_t)osPriorityNormal,
};
/* Definitions for pi3Task */
osThreadId_t pi3TaskHandle;
const osThreadAttr_t pi3Task_attributes = {
    .name = "pi3Task",
    .stack_size = 128 * 4,
    .priority = (osPriority_t)osPriorityNormal,
};
/* Definitions for pi4Task */
osThreadId_t pi4TaskHandle;
const osThreadAttr_t pi4Task_attributes = {
    .name = "pi4Task",
    .stack_size = 128 * 4,
    .priority = (osPriority_t)osPriorityNormal,
};

void StartDefaultTask(void *argument);
void StartBlinkerTask(void *argument);
void StartShaftsMeasTask(void *argument);
void StartBattVoltMeasTask(void *argument);
void StartPulseInputCh1Task(void *argument);
void StartAnalogInputTask(void *argument);
void StartDiscreteInputTask(void *argument);
void StartDiscreteOutputTask(void *argument);
void StartPulseOutputTask(void *argument);
void StartPulseInputCh2Task(void *argument);
void StartPulseInputCh3Task(void *argument);
void StartPulseInputCh4Task(void *argument);

void MX_FREERTOS_Init(void); /* (MISRA C 2004 rule 8.1) */

void MX_FREERTOS_Init(void)
{
  /* USER CODE BEGIN Init */
  defaultTaskHandle = osThreadNew(StartDefaultTask, NULL, &defaultTask_attributes);
  blinkerTaskHandle = osThreadNew(StartBlinkerTask, NULL, &blinkerTask_attributes);
  shaftsTaskHandle = osThreadNew(StartShaftsMeasTask, NULL, &shaftsTask_attributes);
  batteryTaskHandle = osThreadNew(StartBattVoltMeasTask, NULL, &batteryTask_attributes);
  doTaskHandle = osThreadNew(StartDiscreteOutputTask, NULL, &doTask_attributes);
  diTaskHandle = osThreadNew(StartDiscreteInputTask, NULL, &doTask_attributes);

  // TODO: Add your threads here

  /* USER CODE END Init */
  /* USER CODE BEGIN Header */
  /**
   ******************************************************************************
   * File Name          : freertos.c
   * Description        : Code for freertos applications
   ******************************************************************************
   * @attention
   *
   * Copyright (c) 2026 STMicroelectronics.
   * All rights reserved.
   *
   * This software is licensed under terms that can be found in the LICENSE file
   * in the root directory of this software component.
   * If no LICENSE file comes with this software, it is provided AS-IS.
   *
   ******************************************************************************
   */
  /* USER CODE END Header */

  /**
   * @}
   */

  /**
   * @}
   */
}

void StartDefaultTask(void *argument)
{
  /* USER CODE BEGIN StartDefaultTask */
  uint8_t i = 0;
  uint8_t duty = 5;
  uint8_t up = 1;
  bool started = false;

  // Setup PWM 30% duty+
  set_PWM_duty16(&htim9, TIM_CHANNEL_1, 5);
  set_PWM_duty16(&htim9, TIM_CHANNEL_2, 10);
  set_PWM_duty16(&htim12, TIM_CHANNEL_1, 5);
  set_PWM_duty16(&htim12, TIM_CHANNEL_2, 5);

  if (HAL_TIM_PWM_Start(&htim9, TIM_CHANNEL_1) != HAL_OK || HAL_TIM_PWM_Start(&htim9, TIM_CHANNEL_2) != HAL_OK)
  {
    // MySerial.println("ERR: TIM9 PWM start failed");
    Error_Handler();
  }

  // Запуск таймера T12
  if (HAL_TIM_PWM_Start(&htim12, TIM_CHANNEL_1) != HAL_OK || HAL_TIM_PWM_Start(&htim12, TIM_CHANNEL_2) != HAL_OK)
  {
    // MySerial.println("ERR: TIM12 PWM start failed");
    Error_Handler();
  }

  /* Infinite loop */
  for (;;)
  {
    if (++i >= 100)
    {
      if (duty < 0 || duty >= 100)
      {
        up = !up;
        started = true;
      }

      if (up)
      {
        duty += 5;
      }
      else
      {
        duty -= 5;
      }

      set_PWM_duty16(&htim9, TIM_CHANNEL_1, duty);
      set_PWM_duty16(&htim9, TIM_CHANNEL_2, duty);
      if (90 >= duty && duty >= 15)
      {
        set_PWM_duty16(&htim12, TIM_CHANNEL_1, duty);
      }
      set_PWM_duty16(&htim12, TIM_CHANNEL_2, duty);

      //* пример функции c_wrapper4cxx_code_exec связи С кода базы и С++ кода приложения
      c_wrapper4cxx_code_exec();

      i = 0;
    }

    osDelay(10);
  }
  /* USER CODE END StartDefaultTask */
}

void StartBlinkerTask(void *argument)
{
  /* USER CODE BEGIN StartBlinkerTask */
  uint32_t counter = 0;

  // Запуск таймера T6
  if (HAL_TIM_Base_Start_IT(&htim6) != HAL_OK)
  {
    Error_Handler();
  }

  /* Infinite loop */
  for (;;)
  {
    // Проверка флага в основном цикле
    if (blink_flag)
    {
      blink_flag = 0; // Сброс флага
      HAL_GPIO_TogglePin(LED2_GPIO_Port, LED2_Pin);
    }
    // TODO: проверить и использовать атомарные операции, пример:
    // 1. Проверка флага завершения DMA
    // if (__atomic_exchange_n(&dma_complete, 0, __ATOMIC_SEQ_CST))
    // {
    //   // Обработка
    // }

    // Код задачи исполняемый в потоке операционной системы
    appxx_blinker(counter);

    counter++;

    osDelay(50);
    // HAL_GPIO_TogglePin(LED2_GPIO_Port, LED2_Pin);
  }
  /* USER CODE END StartBlinkerTask */
}

void StartShaftsMeasTask(void *argument)
{
  /* USER CODE BEGIN StartShaftsMeasTask */

  // Запуск захвата T3 с DMA для всех каналов
  if (HAL_TIM_IC_Start_DMA(&htim3, TIM_CHANNEL_1, (uint32_t *)dma_capture_buffer[0], SAMPLES_PER_PI_CHANNEL) != HAL_OK ||
      HAL_TIM_IC_Start_DMA(&htim3, TIM_CHANNEL_2, (uint32_t *)dma_capture_buffer[1], SAMPLES_PER_PI_CHANNEL) != HAL_OK ||
      HAL_TIM_IC_Start_DMA(&htim3, TIM_CHANNEL_3, (uint32_t *)dma_capture_buffer[2], SAMPLES_PER_PI_CHANNEL) != HAL_OK ||
      HAL_TIM_IC_Start_DMA(&htim3, TIM_CHANNEL_4, (uint32_t *)dma_capture_buffer[3], SAMPLES_PER_PI_CHANNEL) != HAL_OK)
  {
    Error_Handler();
  }

  // uint32_t channel;

  /* Infinite loop */
  for (;;)
  {
    // * Уровень планирования времени (Scheduling)
    // * здесь можно ставить мутекс или семафор для блокировки данных захвата на время измерения
    // * отправлять в очередь результаты и пр.

    // Получаем сигнал без данных
    // ulTaskNotifyTake(pdTRUE, portMAX_DELAY);

    // Получаем сигнал и данные(номер канала)
    // if (xTaskNotifyWait(0, 0, &channel, portMAX_DELAY) == pdPASS)
    // {
    // После получения сигнала выполняем обработку
    // appxx_shafts_meas(channel);
    // }
    // ! osDelay(1); не нужен при xTaskNotifyWait

    // * Это функция потока - точка входа в код приложения исполняемого в обёртке ресурсов - потоке операционной системы.
    // * Код прилоожения пишется на С++ и эта функция является переходом от С++ к С коду
    // * НЕ СТО�?Т СМЕШ�?ВАТЬ ЛОГ�?КУ ПР�?ЛОЖЕН�?Я �? ПЛАН�?РОВАН�?Е ВРЕМЕН�? ВЫОЛНЕН�?Я(Scheduling)
    // * Это разные слои и у них различное назначение. Межпроцессные коммуникации на уровне потоков ОС
    // * Полученные данные передаются в функцию потока аргументами.
    appxx_shafts_meas(0);

    osDelay(1);
  }
  /* USER CODE END StartShaftsMeasTask */
}

void StartBattVoltMeasTask(void *argument)
{
  /* USER CODE BEGIN StartBattVoltMeasTask */

  // ✅ Пример измерения времени выполнения операции с точностью ~1 мс :
  // Пример функции, время выполнения которой хотим измерить
  //     void my_operation(void)
  // {
  // имитация полезной работы
  //   vTaskDelay(pdMS_TO_TICKS(10)); // Задержка 10 мс
  // }
  // void measure_execution_time(void)
  // {
  //   TickType_t start, end;
  //   uint32_t elapsed_ms;
  //   start = xTaskGetTickCount(); // Получаем текущее количество тиков
  //   my_operation(); // Выполняем операцию
  //   end = xTaskGetTickCount(); // Снова получаем тики
  //   elapsed_ms = (end - start) * portTICK_PERIOD_MS; // Переводим в миллисекунды
  //   printf("Operation took %lu ms\n", elapsed_ms);
  // }

  // * Перед бесконечным циклом добавляем калибровку АЦП
  // HAL_ADC_Calibration_Start(&hadc3);
  // TODO: надо разобраться с калибровкой, так не работает функция!
  // if (HAL_ADCEx_Calibration_Start(&hadc3) != HAL_OK)
  // {
  //   Error_Handler();
  // }
  // https://stm32l4-libraries-documentation.readthedocs.io/en/latest/group__ADCEx__Exported__Functions__Group1.html#ga12d140e07af14ab117239e9d0b4a6545
  // HAL_ADCEx_Calibration_Start(&hadc3, ADC_SINGLE_ENDED); // stm32f4xx_hal_adc_ex.h

  /* Infinite loop */
  for (;;)
  {
    appxx_car_sens_meas();

    // Уровень операционной системы, здесь тайм-менеджмент, обмен сообщениямими, синхронизация и пр.
    // Это не место для управляющей логики приложения!

    // здесь можно ставить мутекс или семафор для блокировки данных АЦП на время измерения
    // отправлять в очередь результаты и пр.
    osDelay(1000);
  }
  /* USER CODE END StartBattVoltMeasTask */
}

void StartPulseInputCh1Task(void *argument)
{
  for (;;)
  {
    osDelay(1);
  }
}

void StartAnalogInputTask(void *argument)
{
  for (;;)
  {
    osDelay(1);
  }
}

void StartDiscreteInputTask(void *argument)
{
  /* USER CODE BEGIN StartDiscreteInputTask */
  uint8_t port_value;

  /* Infinite loop */
  for (;;)
  {
    /* Чтение 8 бит с порта (PB0-PB7) */
    port_value = (uint8_t)(HAL_GPIO_ReadPin(DI13_GPIO_Port, DI14_Pin) |
                           (HAL_GPIO_ReadPin(DI13_GPIO_Port, DI13_Pin) << 1) |
                           (HAL_GPIO_ReadPin(DI13_GPIO_Port, DI12_Pin) << 2) |
                           (HAL_GPIO_ReadPin(DI13_GPIO_Port, DI11_Pin) << 3) |
                           (HAL_GPIO_ReadPin(DI13_GPIO_Port, DI10_Pin) << 4) |
                           (HAL_GPIO_ReadPin(DI13_GPIO_Port, DI9_Pin) << 5) |
                           (HAL_GPIO_ReadPin(DI13_GPIO_Port, DI8_Pin) << 6) |
                           (HAL_GPIO_ReadPin(DI13_GPIO_Port, DI3_Pin) << 7));

    /* Альтернативный способ (если пины идут подряд по номерам): */
    // port_value = (uint8_t)(GPIOB->IDR & 0xFF);

    /* Форматирование строки: "PORT: 10101010\r\n" */
    /* Отправка через USART2 */
    uart_printf(&huart2, "PORT: %02X (%c%c%c%c%c%c%c%c)\r\n",
                port_value,
                (port_value & 0x80) ? '1' : '0',
                (port_value & 0x40) ? '1' : '0',
                (port_value & 0x20) ? '1' : '0',
                (port_value & 0x10) ? '1' : '0',
                (port_value & 0x08) ? '1' : '0',
                (port_value & 0x04) ? '1' : '0',
                (port_value & 0x02) ? '1' : '0',
                (port_value & 0x01) ? '1' : '0');

    osDelay(100);
  }
  /* USER CODE END StartDiscreteInputTask */
}

void StartDiscreteOutputTask(void *argument)
{
  /* USER CODE BEGIN StartDiscreteOutputTask */
  HAL_GPIO_WritePin(DO12_GPIO_Port, DO12_Pin, GPIO_PIN_SET);
  HAL_GPIO_WritePin(DO14_GPIO_Port, DO14_Pin, GPIO_PIN_SET);

  /* Infinite loop */
  for (;;)
  {

    HAL_GPIO_TogglePin(DO11_GPIO_Port, DO11_Pin);
    HAL_GPIO_TogglePin(DO12_GPIO_Port, DO12_Pin);
    HAL_GPIO_TogglePin(DO13_GPIO_Port, DO13_Pin);
    HAL_GPIO_TogglePin(DO14_GPIO_Port, DO14_Pin);

    osDelay(3000);
  }
  /* USER CODE END StartDiscreteOutputTask */
}

void StartPulseOutputTask(void *argument)
{
  for (;;)
  {
    osDelay(1);
  }
}

void StartPulseInputCh2Task(void *argument)
{
  for (;;)
  {
    osDelay(1);
  }
}

void StartPulseInputCh3Task(void *argument)
{
  for (;;)
  {
    osDelay(1);
  }
}

void StartPulseInputCh4Task(void *argument)
{
  for (;;)
  {
    osDelay(1);
  }
}
